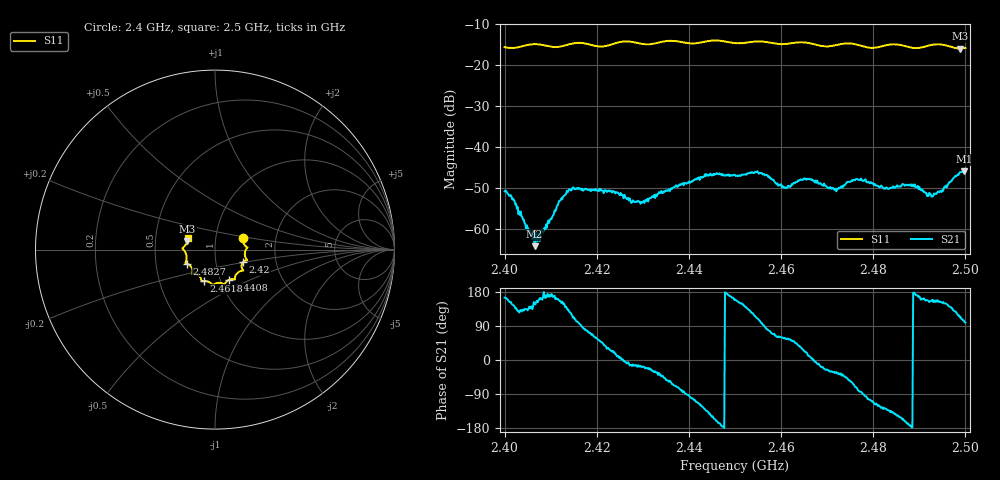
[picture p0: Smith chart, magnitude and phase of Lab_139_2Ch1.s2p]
# Hz S RI R 50
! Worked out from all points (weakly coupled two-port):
!   601 points, 2.4 GHz to 2.5 GHz, reference 50 ohm
!   highest |S21| = -45.86 dB at 2.4997 GHz (marker M1); lowest = -64.2 dB at 2.4065 GHz (marker M2)
!   lowest |S11| = -15.9 dB at 2.4988 GHz (marker M3), VSWR 1.38, Z = 36.5 + j3.39 ohm
!   |S11| at or under -10 dB: start of sweep to end of sweep
!   S12 and S22 are empty: the file has one direction only
!   S11 on the Smith chart (normalised r, x): 2.4 GHz: 1.36, +0.17; 2.42 GHz: 1.36, -0.19; 2.4408 GHz: 1.10, -0.38; 2.4618 GHz: 0.84, -0.30; 2.4827 GHz: 0.72, -0.12; 2.5 GHz: 0.73, +0.09
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2.4e9  0.1554 0.062  -0.00278 0.000769  0 0  0 0
2.401667e9  0.158 0.0406  -0.00191 0.00127  0 0  0 0
2.4065e9  0.1815 0.0122  -0.000518 0.000334  0 0  0 0
2.413667e9  0.1724 -0.0482  -0.00191 0.00206  0 0  0 0
2.416667e9  0.1786 -0.059  -8.76e-06 0.00301  0 0  0 0
2.42e9  0.1572 -0.0691  0.00164 0.0025  0 0  0 0
2.428e9  0.1522 -0.1175  0.00211 -0.000534  0 0  0 0
2.433333e9  0.1119 -0.1525  0.00209 -0.00171  0 0  0 0
2.440833e9  0.0781 -0.1687  -0.000754 -0.00375  0 0  0 0
2.45e9  0.0273 -0.1851  -0.00431 0.00157  0 0  0 0
2.455167e9  -0.0112 -0.1964  -0.00131 0.00455  0 0  0 0
2.461833e9  -0.0609 -0.175  0.00194 0.00272  0 0  0 0
2.466667e9  -0.0763 -0.1679  0.00404 0.000319  0 0  0 0
2.471833e9  -0.1136 -0.1354  0.00261 -0.0017  0 0  0 0
2.476833e9  -0.125 -0.1258  0.000631 -0.00393  0 0  0 0
2.482667e9  -0.1578 -0.0776  -0.00194 -0.00244  0 0  0 0
2.483333e9  -0.1618 -0.0764  -0.00211 -0.00227  0 0  0 0
2.4885e9  -0.1584 -0.0428  -0.00335 -0.00011  0 0  0 0
2.493167e9  -0.1799 0.00486  -0.0025 0.00105  0 0  0 0
2.498833e9  -0.1541 0.0453  -0.0019 0.00459  0 0  0 0
2.499667e9  -0.1515 0.0578  -0.00121 0.00495  0 0  0 0
2.5e9  -0.1513 0.0627  -0.000744 0.00491  0 0  0 0
